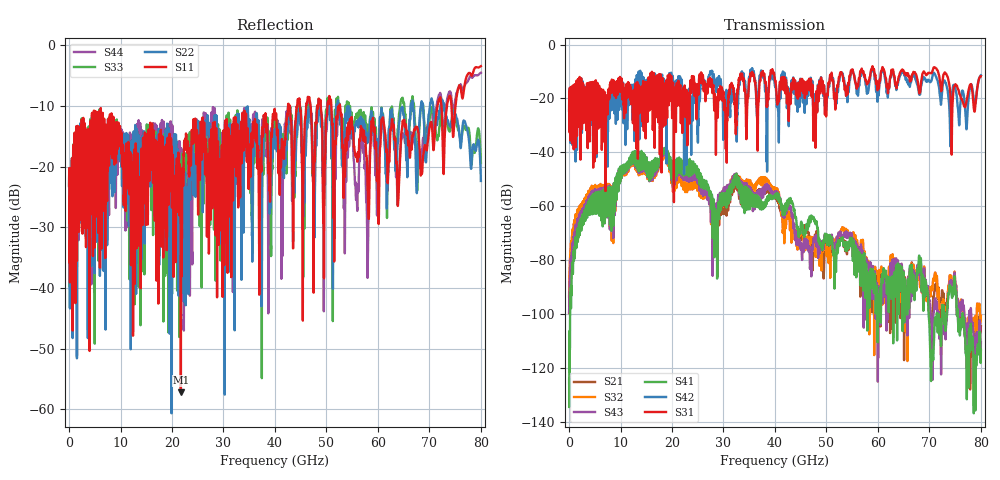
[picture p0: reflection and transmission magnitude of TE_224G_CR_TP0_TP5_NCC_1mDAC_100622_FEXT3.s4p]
!! Reference: tracy_3df_01_2211
!! CHANNEL DESCRIPTION: TP0_TP5 CR Channel using 1meter DAC, Near Chip Connector Host
!! MODEL DESCRIPTION: s4p, FEXT3
!! CONNECTOR DESCRIPTION: OSFP 200G OTB
!! CABLE DESCRIPTION: 1meter 26AWG Cable
!! MODEL STATUS: Developmental
!! PORT DEFINITIONS:
!! Port  1  ----->  Side A  Side B  <-----  Port  2
!! Port  3  ----->  Side A  Side B  <-----  Port  4
# Hz S MA R 50
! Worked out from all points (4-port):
!   8000 points, 10 MHz to 80 GHz, reference 50 ohm
!   strongest paths, dB at 10 MHz, 20.01 GHz, 40.01 GHz, 60.01 GHz, 80 GHz:
!     S31: -24.5, -26.2, -13.4, -14.6, -11.7
!     S42: -24.5, -16.2, -15.4, -17.0, -11.4
!     S41: -125.8, -43.3, -56.4, -99.0, -113.3
!     S43: -99.4, -44.3, -56.0, -108.1, -110.5
!     S32: -93.7, -45.1, -55.7, -92.5, -100.7
!     S21: -99.7, -44.0, -57.1, -107.1, -104.6
!   lowest |S11| = -57.2 dB at 21.72 GHz (marker M1), VSWR 1.00, Z = 49.9 + j0.124 ohm
!   |S11| at or under -10 dB: start of sweep to 42.53 GHz; 50.93 GHz to 52.53 GHz (1.595 GHz wide, 3.08 % of centre); 52.64 GHz to 71.57 GHz (18.93 GHz wide, 30.5 % of centre)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
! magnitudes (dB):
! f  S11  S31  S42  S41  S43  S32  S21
! 10 MHz  -23.1  -24.5  -24.5  -125.8  -99.4  -93.7  -99.7
! 12.36 GHz  -23.9  -26.0  -25.6  -39.8  -40.0  -40.5  -40.5
! 21.72 GHz  -57.2  -28.3  -17.2  -42.9  -44.1  -46.6  -44.9
! 28.55 GHz  -14.7  -33.5  -15.6  -68.6  -61.9  -66.2  -69.2
! 46.87 GHz  -9.7  -15.0  -13.5  -65.6  -81.2  -71.8  -72.0
! 57.94 GHz  -21.6  -14.5  -17.9  -102.1  -100.6  -94.9  -85.4
! 80 GHz  -3.4  -11.7  -11.4  -113.3  -110.5  -100.7  -104.6
